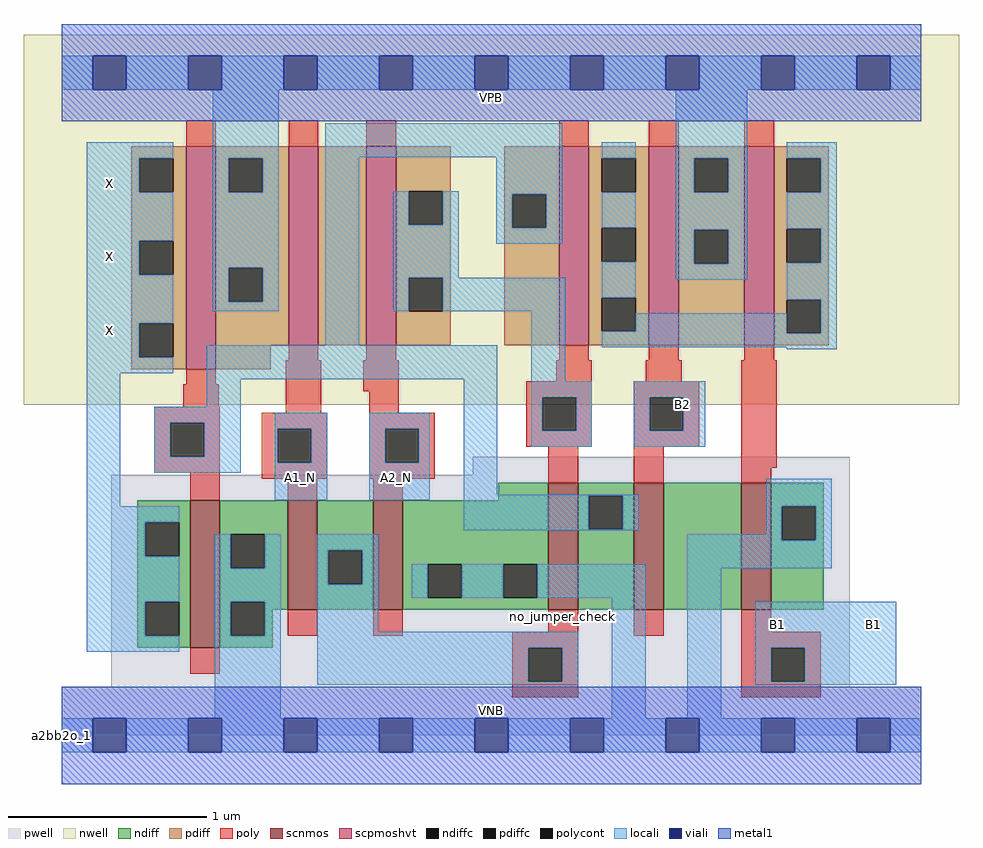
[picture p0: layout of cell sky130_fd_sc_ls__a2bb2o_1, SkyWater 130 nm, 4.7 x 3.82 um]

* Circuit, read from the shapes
.subckt sky130_fd_sc_ls__a2bb2o_1 A1_N A2_N B1 B2 VGND VNB VPB VPWR X
XM1 VGND n1 X VNB sky130_fd_pr__nfet_01v8 w=0.74 l=0.15
XM2 n2 A1_N VGND VNB sky130_fd_pr__nfet_01v8 w=0.55 l=0.15
XM3 VGND A2_N n2 VNB sky130_fd_pr__nfet_01v8 w=0.55 l=0.15
XM4 n1 n2 VGND VNB sky130_fd_pr__nfet_01v8 w=0.64 l=0.15
XM5 n3 B2 n1 VNB sky130_fd_pr__nfet_01v8 w=0.64 l=0.15
XM6 VGND B1 n3 VNB sky130_fd_pr__nfet_01v8 w=0.64 l=0.15
XM7 VPWR n1 X VPB sky130_fd_pr__pfet_01v8_hvt w=1.12 l=0.15
XM8 n4 A1_N VPWR VPB sky130_fd_pr__pfet_01v8_hvt w=1 l=0.15
XM9 n2 A2_N n4 VPB sky130_fd_pr__pfet_01v8_hvt w=1 l=0.15
XM10 n5 n2 n1 VPB sky130_fd_pr__pfet_01v8_hvt w=1 l=0.15
XM11 VPWR B2 n5 VPB sky130_fd_pr__pfet_01v8_hvt w=1 l=0.15
XM12 n5 B1 VPWR VPB sky130_fd_pr__pfet_01v8_hvt w=1 l=0.15
.ends

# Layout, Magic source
magic
tech sky130A
magscale 1 2
<< nwell >>
rect -38 332 902 704
<< pwell >>
rect 413 262 792 280
rect 50 49 792 262
rect 0 0 864 49
<< scnmos >>
rect 129 88 159 236
rect 227 126 257 236
rect 313 126 343 236
rect 489 126 519 254
rect 575 126 605 254
rect 683 126 713 254
<< scpmoshvt >>
rect 125 368 155 592
rect 228 392 258 592
rect 306 392 336 592
rect 500 392 530 592
rect 590 392 620 592
rect 686 392 716 592
<< ndiff >>
rect 439 236 489 254
rect 76 214 129 236
rect 76 180 84 214
rect 118 180 129 214
rect 76 134 129 180
rect 76 100 84 134
rect 118 100 129 134
rect 76 88 129 100
rect 159 202 227 236
rect 159 168 170 202
rect 204 168 227 202
rect 159 134 227 168
rect 159 100 170 134
rect 204 126 227 134
rect 257 186 313 236
rect 257 152 268 186
rect 302 152 313 186
rect 257 126 313 152
rect 343 172 489 236
rect 343 138 368 172
rect 402 138 444 172
rect 478 138 489 172
rect 343 126 489 138
rect 519 241 575 254
rect 519 207 530 241
rect 564 207 575 241
rect 519 126 575 207
rect 605 126 683 254
rect 713 230 766 254
rect 713 196 724 230
rect 758 196 766 230
rect 713 126 766 196
rect 204 100 212 126
rect 159 88 212 100
<< pdiff >>
rect 70 580 125 592
rect 70 546 78 580
rect 112 546 125 580
rect 70 497 125 546
rect 70 463 78 497
rect 112 463 125 497
rect 70 414 125 463
rect 70 380 78 414
rect 112 380 125 414
rect 70 368 125 380
rect 155 580 228 592
rect 155 546 168 580
rect 202 546 228 580
rect 155 470 228 546
rect 155 436 168 470
rect 202 436 228 470
rect 155 392 228 436
rect 258 392 306 592
rect 336 547 391 592
rect 336 513 349 547
rect 383 513 391 547
rect 336 460 391 513
rect 336 426 349 460
rect 383 426 391 460
rect 336 392 391 426
rect 445 544 500 592
rect 445 510 453 544
rect 487 510 500 544
rect 445 392 500 510
rect 530 580 590 592
rect 530 546 543 580
rect 577 546 590 580
rect 530 510 590 546
rect 530 476 543 510
rect 577 476 590 510
rect 530 440 590 476
rect 530 406 543 440
rect 577 406 590 440
rect 530 392 590 406
rect 620 580 686 592
rect 620 546 636 580
rect 670 546 686 580
rect 620 508 686 546
rect 620 474 636 508
rect 670 474 686 508
rect 620 392 686 474
rect 716 580 771 592
rect 716 546 729 580
rect 763 546 771 580
rect 716 509 771 546
rect 716 475 729 509
rect 763 475 771 509
rect 716 438 771 475
rect 716 404 729 438
rect 763 404 771 438
rect 716 392 771 404
rect 155 368 210 392
<< ndiffc >>
rect 84 180 118 214
rect 84 100 118 134
rect 170 168 204 202
rect 170 100 204 134
rect 268 152 302 186
rect 368 138 402 172
rect 444 138 478 172
rect 530 207 564 241
rect 724 196 758 230
<< pdiffc >>
rect 78 546 112 580
rect 78 463 112 497
rect 78 380 112 414
rect 168 546 202 580
rect 168 436 202 470
rect 349 513 383 547
rect 349 426 383 460
rect 453 510 487 544
rect 543 546 577 580
rect 543 476 577 510
rect 543 406 577 440
rect 636 546 670 580
rect 636 474 670 508
rect 729 546 763 580
rect 729 475 763 509
rect 729 404 763 438
<< poly >>
rect 125 592 155 618
rect 228 592 258 618
rect 306 592 336 618
rect 500 592 530 618
rect 590 592 620 618
rect 686 592 716 618
rect 228 377 258 392
rect 306 377 336 392
rect 500 377 530 392
rect 590 377 620 392
rect 686 377 716 392
rect 125 353 155 368
rect 122 330 158 353
rect 93 314 159 330
rect 225 324 261 377
rect 303 346 339 377
rect 497 356 533 377
rect 587 356 623 377
rect 309 324 339 346
rect 467 340 533 356
rect 93 280 109 314
rect 143 280 159 314
rect 93 264 159 280
rect 129 236 159 264
rect 201 308 267 324
rect 201 274 217 308
rect 251 274 267 308
rect 201 258 267 274
rect 309 308 375 324
rect 309 274 325 308
rect 359 274 375 308
rect 467 306 483 340
rect 517 306 533 340
rect 467 290 533 306
rect 575 340 641 356
rect 575 306 591 340
rect 625 306 641 340
rect 575 290 641 306
rect 309 258 375 274
rect 227 236 257 258
rect 313 236 343 258
rect 489 254 519 290
rect 575 254 605 290
rect 683 269 719 377
rect 683 254 713 269
rect 227 100 257 126
rect 313 100 343 126
rect 489 104 519 126
rect 453 88 519 104
rect 575 100 605 126
rect 683 104 713 126
rect 129 62 159 88
rect 453 54 469 88
rect 503 54 519 88
rect 453 38 519 54
rect 683 88 763 104
rect 683 54 713 88
rect 747 54 763 88
rect 683 38 763 54
<< polycont >>
rect 109 280 143 314
rect 217 274 251 308
rect 325 274 359 308
rect 483 306 517 340
rect 591 306 625 340
rect 469 54 503 88
rect 713 54 747 88
<< locali >>
rect 0 649 31 683
rect 65 649 127 683
rect 161 649 223 683
rect 257 649 319 683
rect 353 649 415 683
rect 449 649 511 683
rect 545 649 607 683
rect 641 649 703 683
rect 737 649 799 683
rect 833 649 864 683
rect 25 580 112 596
rect 25 546 78 580
rect 25 497 112 546
rect 25 463 78 497
rect 25 414 112 463
rect 152 580 218 649
rect 152 546 168 580
rect 202 546 218 580
rect 152 470 218 546
rect 152 436 168 470
rect 202 436 218 470
rect 152 426 218 436
rect 265 581 503 615
rect 25 380 78 414
rect 265 392 299 581
rect 333 513 349 547
rect 383 513 399 547
rect 333 460 399 513
rect 437 544 503 581
rect 437 510 453 544
rect 487 510 503 544
rect 437 494 503 510
rect 543 580 577 596
rect 543 510 577 546
rect 333 426 349 460
rect 383 426 506 460
rect 25 364 112 380
rect 25 230 59 364
rect 146 358 438 392
rect 146 330 180 358
rect 93 314 180 330
rect 93 280 109 314
rect 143 280 180 314
rect 93 264 180 280
rect 214 308 267 324
rect 214 274 217 308
rect 251 274 267 308
rect 214 236 267 274
rect 309 308 370 324
rect 309 274 325 308
rect 359 274 370 308
rect 309 236 370 274
rect 404 242 438 358
rect 472 356 506 426
rect 543 440 577 476
rect 617 580 689 649
rect 617 546 636 580
rect 670 546 689 580
rect 617 508 689 546
rect 617 474 636 508
rect 670 474 689 508
rect 617 458 689 474
rect 729 580 779 596
rect 763 546 779 580
rect 729 509 779 546
rect 763 475 779 509
rect 729 438 779 475
rect 577 406 729 424
rect 543 404 729 406
rect 763 404 779 438
rect 543 390 779 404
rect 729 388 779 390
rect 472 340 533 356
rect 472 306 483 340
rect 517 306 533 340
rect 472 290 533 306
rect 575 340 647 356
rect 575 306 591 340
rect 625 306 647 340
rect 575 290 647 306
rect 404 241 580 242
rect 25 214 118 230
rect 25 180 84 214
rect 404 207 530 241
rect 564 207 580 241
rect 404 206 580 207
rect 708 230 774 258
rect 708 202 724 230
rect 25 134 118 180
rect 25 100 84 134
rect 25 84 118 100
rect 154 168 170 202
rect 204 168 220 202
rect 154 134 220 168
rect 154 100 170 134
rect 204 100 220 134
rect 154 17 220 100
rect 257 186 318 202
rect 257 152 268 186
rect 302 152 318 186
rect 629 196 724 202
rect 758 196 774 230
rect 257 104 318 152
rect 352 138 368 172
rect 402 138 444 172
rect 478 138 587 172
rect 257 88 519 104
rect 257 54 469 88
rect 503 54 519 88
rect 257 51 519 54
rect 553 17 587 138
rect 629 168 774 196
rect 629 17 663 168
rect 697 88 839 134
rect 697 54 713 88
rect 747 54 839 88
rect 697 51 839 54
rect 0 -17 31 17
rect 65 -17 127 17
rect 161 -17 223 17
rect 257 -17 319 17
rect 353 -17 415 17
rect 449 -17 511 17
rect 545 -17 607 17
rect 641 -17 703 17
rect 737 -17 799 17
rect 833 -17 864 17
<< viali >>
rect 31 649 65 683
rect 127 649 161 683
rect 223 649 257 683
rect 319 649 353 683
rect 415 649 449 683
rect 511 649 545 683
rect 607 649 641 683
rect 703 649 737 683
rect 799 649 833 683
rect 31 -17 65 17
rect 127 -17 161 17
rect 223 -17 257 17
rect 319 -17 353 17
rect 415 -17 449 17
rect 511 -17 545 17
rect 607 -17 641 17
rect 703 -17 737 17
rect 799 -17 833 17
<< metal1 >>
rect 0 683 864 715
rect 0 649 31 683
rect 65 649 127 683
rect 161 649 223 683
rect 257 649 319 683
rect 353 649 415 683
rect 449 649 511 683
rect 545 649 607 683
rect 641 649 703 683
rect 737 649 799 683
rect 833 649 864 683
rect 0 617 864 649
rect 0 17 864 49
rect 0 -17 31 17
rect 65 -17 127 17
rect 161 -17 223 17
rect 257 -17 319 17
rect 353 -17 415 17
rect 449 -17 511 17
rect 545 -17 607 17
rect 641 -17 703 17
rect 737 -17 799 17
rect 833 -17 864 17
rect 0 -49 864 -17
<< labels >>
rlabel comment s 0 0 0 0 4 a2bb2o_1
flabel comment s 503 119 503 119 0 FreeSans 200 0 0 0 no_jumper_check
flabel pwell s 0 0 864 49 0 FreeSans 200 0 0 0 VNB
port 6 nsew ground bidirectional
flabel nwell s 0 617 864 666 0 FreeSans 200 0 0 0 VPB
port 7 nsew power bidirectional
flabel metal1 s 0 617 864 666 0 FreeSans 340 0 0 0 VPWR
port 8 nsew power bidirectional abutment
flabel metal1 s 0 0 864 49 0 FreeSans 340 0 0 0 VGND
port 5 nsew ground bidirectional abutment
flabel locali s 607 316 641 350 0 FreeSans 340 0 0 0 B2
port 4 nsew signal input
flabel locali s 223 242 257 276 0 FreeSans 340 0 0 0 A1_N
port 1 nsew signal input
flabel locali s 31 390 65 424 0 FreeSans 340 0 0 0 X
port 9 nsew signal output
flabel locali s 31 464 65 498 0 FreeSans 340 0 0 0 X
port 9 nsew signal output
flabel locali s 31 538 65 572 0 FreeSans 340 0 0 0 X
port 9 nsew signal output
flabel locali s 703 94 737 128 0 FreeSans 340 0 0 0 B1
port 3 nsew signal input
flabel locali s 799 94 833 128 0 FreeSans 340 0 0 0 B1
port 3 nsew signal input
flabel locali s 319 242 353 276 0 FreeSans 340 0 0 0 A2_N
port 2 nsew signal input
<< properties >>
string LEFsite unit
string LEFclass CORE
string FIXED_BBOX 0 0 864 666
string GDS_FILE $PDKPATH/libs.ref/sky130_fd_sc_ls/gds/sky130_fd_sc_ls.gds
string LEFsymmetry X Y
string GDS_END 3807838
string GDS_START 3799744
<< end >>
